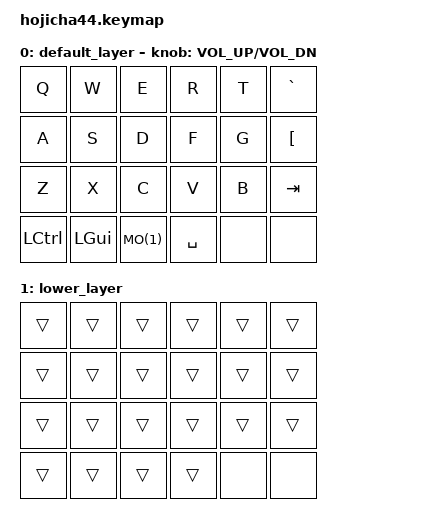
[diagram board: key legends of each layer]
/*
 * Hojicha44 minimal keymap — DRAFT. 24 transform positions (R3C4-C5 are
 * &none: unpopulated, floating row reads low through the pull-down).
 * Left hand shown; right mirrors per spec/layout.yaml. L1 positions,
 * Backspace/Delete, and combos (Fn chord, Tab) are still open keymap
 * decisions — this file proves the scan/spatial mapping only.
 */
#include <behaviors.dtsi>
#include <dt-bindings/zmk/keys.h>
#include <dt-bindings/zmk/bt.h>

/ {
    keymap {
        compatible = "zmk,keymap";
        label = "Hojicha44";

        default_layer {
            bindings = <
                &kp Q &kp W &kp E &kp R &kp T &kp GRAVE
                &kp A &kp S &kp D &kp F &kp G &kp LBKT
                &kp Z &kp X &kp C &kp V &kp B &kp TAB
                &kp LCTRL &kp LGUI &kp MO(1) &kp SPACE &none &none
            >;
            sensor-bindings = <&inc_dec_kp C_VOL_UP C_VOL_DN>;
        };
        lower_layer {
            bindings = <
                &trans &trans &trans &trans &trans &trans
                &trans &trans &trans &trans &trans &trans
                &trans &trans &trans &trans &trans &trans
                &trans &trans &trans &trans &none &none
            >;
        };
    };

    /* ASSUMED pending first-article: EC11 push -> C_MUTE. Mute joins the
     * existing C_VOL_UP/C_VOL_DN media cluster from sensor-bindings.
     * Sideband keeps the 24-cell matrix bindings/transform untouched: the
     * direct kscan in hojicha44.dtsi emits row 0 / column 0 for the single
     * push key. Binding source: zmk.dev/docs/config/kscan (sideband
     * section) + app/dts/bindings/kscan/zmk,kscan-sideband-behaviors.yaml
     * in zmkfirmware/zmk. First-article: press on EACH half must send Mute
     * (both halves define the push on D16). */
    enc_push_sideband: sideband_enc_push {
        compatible = "zmk,kscan-sideband-behaviors";
        kscan = <&enc_push_kscan>;
        auto-enable;
        push_mute: push_0 {
            row = <0>;
            column = <0>;
            bindings = <&kp C_MUTE>;
        };
    };
};
